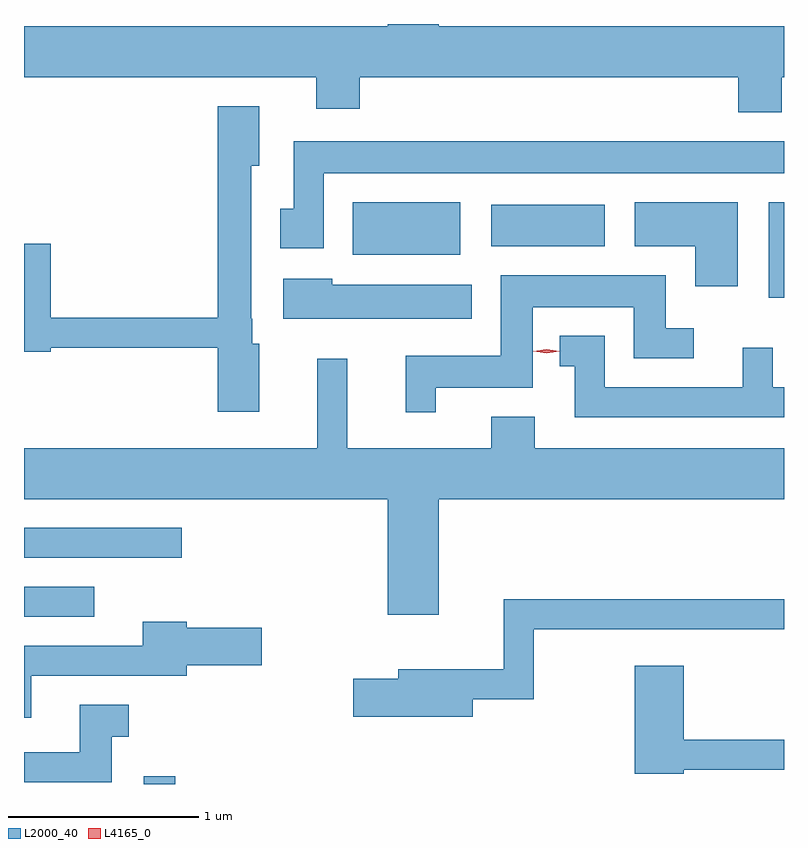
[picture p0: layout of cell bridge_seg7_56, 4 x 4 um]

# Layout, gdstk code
import gdstk
lib = gdstk.Library(unit=1e-6, precision=1e-09)
def R(c, l, rs):  # rectangles x0, y0, x1, y1
    for r in rs: c.add(gdstk.rectangle(r[:2], r[2:], *l))
def P(c, l, *ps):  # polygons
    for p in ps: c.add(gdstk.Polygon(p, *l))
L2000_40 = (2000, 40)
L4165_0 = (4165, 0)

bridge_seg7_56 = lib.new_cell('bridge_seg7_56')
R(bridge_seg7_56, L2000_40, [(1652.351,1757.216,1652.519,1757.258), (1651.722,1758.096,1652.093,1758.254), (1651.722,1758.406,1652.553,1758.564), (1655.641,1759.776,1655.722,1760.279), (1653.451,1760.001,1654.019,1760.279), (1654.181,1760.046,1654.779,1760.264)])
P(bridge_seg7_56, L2000_40, [(1655.709,1760.936),(1655.722,1760.936),(1655.722,1761.204),(1653.904,1761.204),(1653.904,1761.216),(1653.636,1761.216),(1653.636,1761.204),(1651.722,1761.204),(1651.722,1760.936),(1653.261,1760.936),(1653.261,1760.771),(1653.489,1760.771),(1653.489,1760.936),(1655.481,1760.936),(1655.481,1760.751),(1655.709,1760.751)],
  [(1652.959,1759.534),(1652.924,1759.534),(1652.924,1759.665),(1652.919,1759.665),(1652.919,1760.471),(1652.959,1760.471),(1652.959,1760.784),(1652.741,1760.784),(1652.741,1759.669),(1651.864,1759.669),(1651.864,1760.059),(1651.722,1760.059),(1651.722,1759.491),(1651.864,1759.491),(1651.864,1759.511),(1652.741,1759.511),(1652.741,1759.176),(1652.959,1759.176)],
  [(1653.299,1760.431),(1655.722,1760.431),(1655.722,1760.599),(1653.141,1760.599),(1653.141,1760.244),(1653.071,1760.244),(1653.071,1760.036),(1653.299,1760.036)],
  [(1655.479,1760.279),(1654.936,1760.279),(1654.936,1760.046),(1655.256,1760.046),(1655.256,1759.836),(1655.479,1759.836)],
  [(1653.889,1759.301),(1654.399,1759.301),(1654.399,1759.726),(1654.931,1759.726),(1654.931,1759.456),(1655.248,1759.456),(1655.248,1759.614),(1655.099,1759.614),(1655.099,1759.894),(1654.231,1759.894),(1654.231,1759.469),(1653.731,1759.469),(1653.731,1759.173),(1653.889,1759.173)],
  [(1654.079,1759.844),(1653.344,1759.844),(1653.344,1759.874),(1653.086,1759.874),(1653.086,1759.666),(1654.079,1759.666)],
  [(1655.722,1759.304),(1655.664,1759.304),(1655.664,1759.513),(1655.506,1759.513),(1655.506,1759.304),(1654.779,1759.304),(1654.779,1759.574),(1654.543,1759.574),(1654.543,1759.416),(1654.621,1759.416),(1654.621,1759.146),(1655.722,1759.146)],
  [(1653.904,1758.716),(1655.722,1758.716),(1655.722,1758.984),(1654.409,1758.984),(1654.409,1759.149),(1654.181,1759.149),(1654.181,1758.984),(1653.424,1758.984),(1653.424,1759.453),(1653.266,1759.453),(1653.266,1758.984),(1651.722,1758.984),(1651.722,1758.716),(1653.636,1758.716),(1653.636,1758.106),(1653.904,1758.106)],
  [(1654.084,1757.661),(1654.404,1757.661),(1654.404,1758.031),(1655.722,1758.031),(1655.722,1758.189),(1654.246,1758.189),(1654.246,1757.819),(1653.691,1757.819),(1653.691,1757.769),(1653.456,1757.769),(1653.456,1757.571),(1654.084,1757.571)],
  [(1651.759,1757.786),(1652.579,1757.786),(1652.579,1757.841),(1652.974,1757.841),(1652.974,1758.039),(1652.579,1758.039),(1652.579,1758.069),(1652.346,1758.069),(1652.346,1757.944),(1651.722,1757.944),(1651.722,1757.566),(1651.759,1757.566)],
  [(1655.194,1757.291),(1655.722,1757.291),(1655.722,1757.449),(1655.194,1757.449),(1655.194,1757.839),(1654.936,1757.839),(1654.936,1757.271),(1655.194,1757.271)],
  [(1652.184,1757.466),(1652.273,1757.466),(1652.273,1757.634),(1652.016,1757.634),(1652.016,1757.384),(1651.722,1757.384),(1651.722,1757.226),(1652.184,1757.226)])
P(bridge_seg7_56, L4165_0, [(1654.472,1759.483),(1654.402,1759.493),(1654.402,1759.493),(1654.402,1759.494),(1654.472,1759.503),(1654.541,1759.494),(1654.541,1759.493),(1654.541,1759.493)])

lib.write_gds('bridge_seg7_56.gds')
